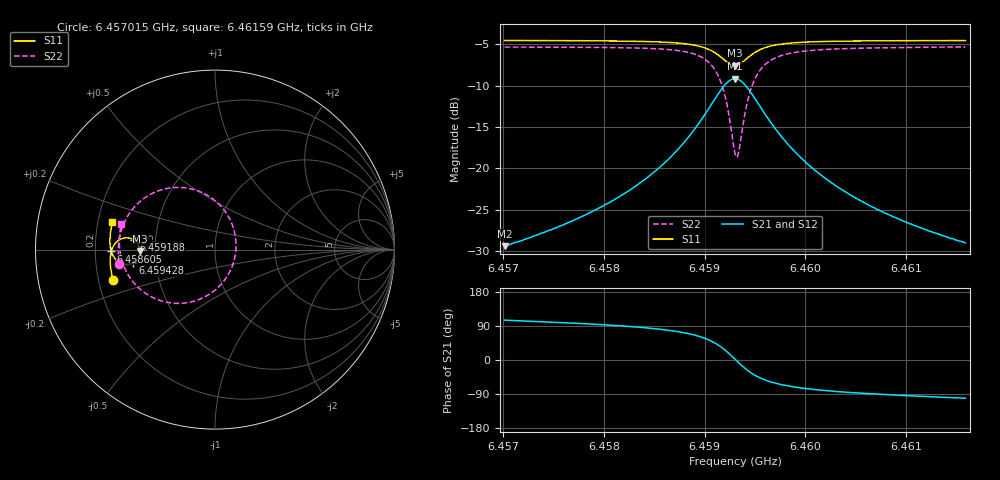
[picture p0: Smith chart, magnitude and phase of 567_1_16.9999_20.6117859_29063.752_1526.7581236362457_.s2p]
#  HZ  S  RI  R  50.00
! Rohde & Schwarz Vector Network Analyzer
! Rohde-Schwarz,ZNB20-2Port,1311601062101988,3.16
! Created: UTC 3/20/2024, 11:17:27 PM
! freq[Hz]  re:S11  im:S11  re:S21  im:S21  re:S12  im:S12  re:S22  im:S22
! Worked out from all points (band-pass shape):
!   401 points, 6.457015 GHz to 6.46159 GHz, reference 50 ohm
!   highest |S21| = -9.17 dB at 6.459303 GHz (marker M1); lowest = -29.4 dB at 6.457015 GHz (marker M2)
!   |S21| within 3 dB of the highest: 6.459074 GHz to 6.459532 GHz (457.7 kHz wide, 0.00709 % of centre)
!   lowest |S11| = -7.6 dB at 6.459303 GHz (marker M3), VSWR 2.43, Z = 20.6 - j0.436 ohm
!   |S11| at or under -10 dB: nowhere
!   |S22| runs from -18.6 to -5.3 dB; largest |S21 - S12| = 0.014
!   S11 on the Smith chart (normalised r, x): 6.457015 GHz: 0.26, -0.14; 6.458605 GHz: 0.27, -0.01; 6.459188 GHz: 0.37, +0.05; 6.459428 GHz: 0.37, -0.07; 6.46159 GHz: 0.26, +0.12
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6.4570152e9  -0.5675 -0.1692  -0.00888 0.0326  -0.00697 0.0326  -0.5335 -0.0813
6.4577815e9  -0.5812 -0.1021  -0.00545 0.0508  -0.00284 0.0502  -0.5384 0.00889
6.4581932e9  -0.5839 -0.0608  0.00035 0.0697  0.00374 0.0682  -0.5303 0.0741
6.4585478e9  -0.5798 -0.0185  0.0148 0.0994  0.0187 0.0966  -0.5038 0.1543
6.4586049e9  -0.578 -0.0105  0.0191 0.1064  0.0231 0.1031  -0.4954 0.1707
6.4588108e9  -0.5647 0.0215  0.0468 0.1387  0.0511 0.1337  -0.4434 0.2437
6.4589595e9  -0.5419 0.0478  0.0926 0.1693  0.0958 0.1625  -0.3589 0.3082
6.4590967e9  -0.4979 0.0652  0.1805 0.1857  0.1812 0.1783  -0.1983 0.3464
6.4591882e9  -0.453 0.0548  0.2707 0.1539  0.271 0.1482  -0.0307 0.2951
6.4592568e9  -0.4239 0.0224  0.3314 0.0816  0.3336 0.0762  0.0854 0.1641
6.4593026e9  -0.4169 -0.00875  0.3477 0.013  0.3516 0.00606  0.1174 0.0359
6.459314e9  -0.4175 -0.0169  0.3474 -0.00497  0.3515 -0.0126  0.117 0.00197
6.4593369e9  -0.4209 -0.0326  0.3419 -0.0397  0.3458 -0.049  0.1054 -0.0645
6.4593826e9  -0.4368 -0.0589  0.313 -0.1002  0.3151 -0.1121  0.0468 -0.1786
6.4594284e9  -0.459 -0.0752  0.2703 -0.1413  0.2695 -0.1548  -0.0395 -0.2537
6.4595199e9  -0.5026 -0.0821  0.1847 -0.1724  0.1785 -0.184  -0.2102 -0.2996
6.4596685e9  -0.5466 -0.0614  0.0961 -0.1582  0.0877 -0.1643  -0.379 -0.2489
6.4598286e9  -0.5683 -0.0337  0.0512 -0.1298  0.0435 -0.1325  -0.4596 -0.176
6.4600688e9  -0.5809 0.00183  0.0221 -0.098  0.0162 -0.0985  -0.5075 -0.0928
6.4604005e9  -0.5854 0.0416  0.00639 -0.0716  0.00217 -0.0712  -0.5286 -0.0153
6.4608351e9  -0.5835 0.0855  -0.00157 -0.0522  -0.00446 -0.0513  -0.5329 0.055
6.4615899e9  -0.5713 0.1523  -0.00667 -0.0347  -0.00841 -0.0338  -0.5213 0.1448
